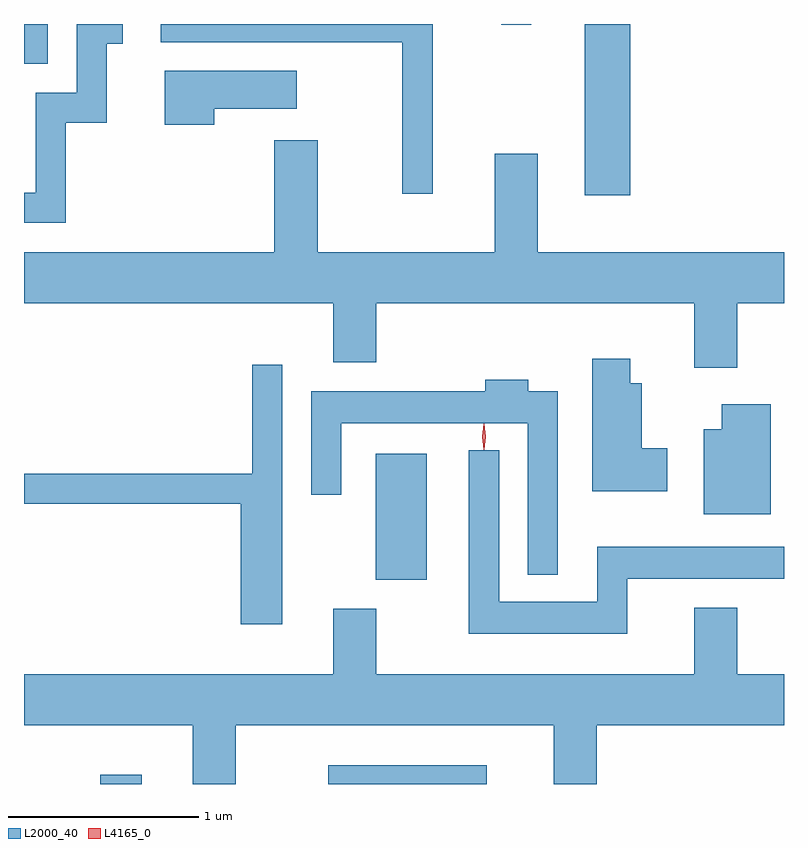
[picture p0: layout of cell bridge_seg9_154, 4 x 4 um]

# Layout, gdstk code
import gdstk
lib = gdstk.Library(unit=1e-6, precision=1e-09)
def R(c, l, rs):  # rectangles x0, y0, x1, y1
    for r in rs: c.add(gdstk.rectangle(r[:2], r[2:], *l))
def P(c, l, *ps):  # polygons
    for p in ps: c.add(gdstk.Polygon(p, *l))
L2000_40 = (2000, 40)
L4165_0 = (4165, 0)

bridge_seg9_154 = lib.new_cell('bridge_seg9_154')
R(bridge_seg9_154, L2000_40, [(1436.666,2078.086,1436.884,2078.134), (1437.866,2078.086,1438.699,2078.184), (1438.116,2079.161,1438.384,2079.824), (1439.216,2081.186,1439.454,2082.086), (1436.264,2081.876,1436.389,2082.086), (1438.776,2082.083,1438.934,2082.086)])
P(bridge_seg9_154, L2000_40, [(1438.414,2082.086),(1436.983,2082.086),(1436.983,2081.991),(1438.256,2081.991),(1438.256,2081.193),(1438.414,2081.193)],
  [(1436.484,2081.566),(1436.699,2081.566),(1436.699,2081.981),(1436.783,2081.981),(1436.783,2082.086),(1436.541,2082.086),(1436.541,2081.724),(1436.326,2081.724),(1436.326,2081.199),(1436.264,2081.199),(1436.264,2081.041),(1436.484,2081.041)],
  [(1437.264,2081.641),(1437.699,2081.641),(1437.699,2081.839),(1437.006,2081.839),(1437.006,2081.556),(1437.264,2081.556)],
  [(1440.019,2080.616),(1440.264,2080.616),(1440.264,2080.884),(1438.969,2080.884),(1438.969,2081.404),(1438.741,2081.404),(1438.741,2080.884),(1437.809,2080.884),(1437.809,2081.474),(1437.581,2081.474),(1437.581,2080.884),(1436.264,2080.884),(1436.264,2080.616),(1437.891,2080.616),(1437.891,2080.306),(1438.119,2080.306),(1438.119,2080.616),(1439.791,2080.616),(1439.791,2080.276),(1440.019,2080.276)],
  [(1439.649,2079.854),(1439.514,2079.854),(1439.514,2080.194),(1439.454,2080.194),(1439.454,2080.324),(1439.256,2080.324),(1439.256,2079.626),(1439.649,2079.626)],
  [(1437.624,2080.293),(1437.466,2080.293),(1437.466,2079.719),(1436.264,2079.719),(1436.264,2079.561),(1437.406,2079.561),(1437.406,2078.926),(1437.624,2078.926)],
  [(1439.074,2080.154),(1438.919,2080.154),(1438.919,2080.214),(1438.691,2080.214),(1438.691,2080.154),(1437.776,2080.154),(1437.776,2079.608),(1437.934,2079.608),(1437.934,2079.986),(1438.916,2079.986),(1438.916,2079.188),(1439.074,2079.188)],
  [(1440.194,2080.084),(1439.936,2080.084),(1439.936,2079.954),(1439.841,2079.954),(1439.841,2079.506),(1440.194,2079.506)],
  [(1439.439,2079.166),(1440.264,2079.166),(1440.264,2079.334),(1439.281,2079.334),(1439.281,2079.044),(1438.764,2079.044),(1438.764,2079.843),(1438.606,2079.843),(1438.606,2078.876),(1439.439,2078.876)],
  [(1437.379,2078.396),(1439.051,2078.396),(1439.051,2078.086),(1439.279,2078.086),(1439.279,2078.396),(1440.264,2078.396),(1440.264,2078.664),(1440.019,2078.664),(1440.019,2079.014),(1439.791,2079.014),(1439.791,2078.664),(1438.119,2078.664),(1438.119,2079.009),(1437.891,2079.009),(1437.891,2078.664),(1436.264,2078.664),(1436.264,2078.396),(1437.151,2078.396),(1437.151,2078.086),(1437.379,2078.086)])
P(bridge_seg9_154, L4165_0, [(1438.684,2079.844),(1438.675,2079.913),(1438.684,2079.982),(1438.685,2079.983),(1438.686,2079.982),(1438.695,2079.913),(1438.686,2079.844),(1438.685,2079.844)],
  [(1438.684,2079.847),(1438.675,2079.914),(1438.684,2079.98),(1438.685,2079.98),(1438.685,2079.98),(1438.695,2079.914),(1438.685,2079.847),(1438.685,2079.847)])

lib.write_gds('bridge_seg9_154.gds')
